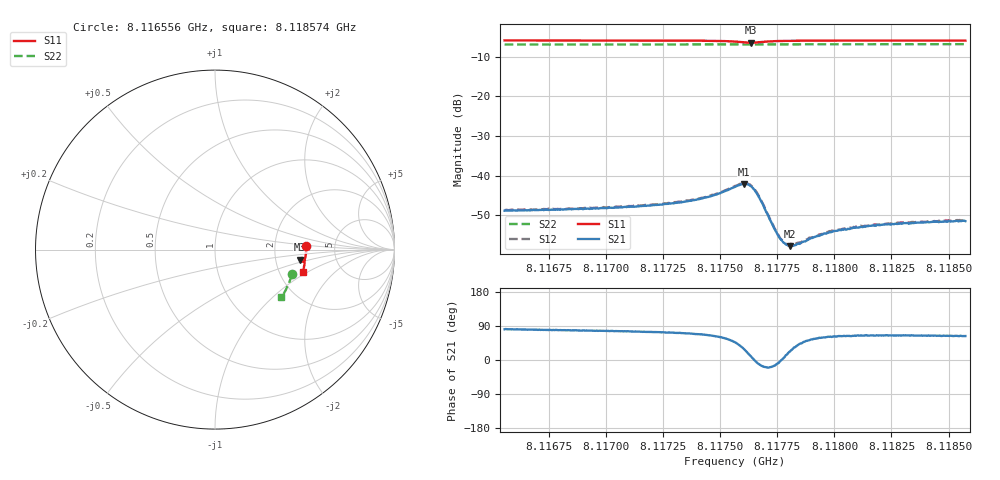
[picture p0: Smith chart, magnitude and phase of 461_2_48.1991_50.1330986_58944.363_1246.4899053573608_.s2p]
#  HZ  S  RI  R  50.00
! Rohde & Schwarz Vector Network Analyzer
! Rohde-Schwarz,ZNB20-2Port,1311601062101988,3.16
! Created: UTC 3/20/2024, 11:56:45 AM
! freq[Hz]  re:S11  im:S11  re:S21  im:S21  re:S12  im:S12  re:S22  im:S22
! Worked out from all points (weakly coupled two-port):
!   401 points, 8.116556 GHz to 8.118574 GHz, reference 50 ohm
!   highest |S21| = -42.08 dB at 8.117605 GHz (marker M1); lowest = -57.8 dB at 8.117807 GHz (marker M2)
!   lowest |S11| = -6.4 dB at 8.117635 GHz (marker M3), VSWR 2.82, Z = 138 - j19.8 ohm
!   |S11| at or under -10 dB: nowhere
!   |S22| runs from -6.9 to -6.8 dB; largest |S21 - S12| = 0.00023
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8.1165555e9  0.5071 0.0179  0.000561 0.00357  0.000611 0.00363  0.4284 -0.1387
8.1168936e9  0.5069 -0.00812  0.000799 0.00374  0.000824 0.00379  0.4214 -0.1612
8.1172316e9  0.5047 -0.0354  0.00122 0.00411  0.00129 0.00419  0.4132 -0.1834
8.1173376e9  0.5031 -0.0446  0.00153 0.0044  0.00158 0.00451  0.4103 -0.1904
8.1174233e9  0.5007 -0.0531  0.00203 0.00477  0.00204 0.00483  0.4079 -0.1961
8.1174889e9  0.4974 -0.0602  0.00275 0.00519  0.00286 0.00526  0.406 -0.2002
8.1175646e9  0.4866 -0.0678  0.00496 0.00528  0.00515 0.00534  0.4032 -0.2049
8.117605e9  0.4763 -0.0652  0.00693 0.00373  0.00711 0.00375  0.4017 -0.2071
8.1176352e9  0.4728 -0.0556  0.00726 0.00112  0.00742 0.00112  0.4009 -0.2085
8.1176504e9  0.4749 -0.0506  0.00657 -9.96e-05  0.00672 -0.00018  0.4006 -0.2092
8.1176705e9  0.4803 -0.0468  0.00519 -0.00105  0.00536 -0.00109  0.4002 -0.2102
8.1177311e9  0.4937 -0.051  0.00222 -0.000661  0.00229 -0.000711  0.3991 -0.2144
8.1177563e9  0.4963 -0.0544  0.00168 -0.000222  0.00174 -0.000195  0.3984 -0.2159
8.1177815e9  0.4977 -0.0579  0.0014 0.000184  0.00144 0.00019  0.3975 -0.2176
8.1178068e9  0.4987 -0.0612  0.00118 0.000512  0.00128 0.000507  0.3969 -0.2194
8.1178522e9  0.4994 -0.0664  0.00103 0.000978  0.00104 0.000943  0.3955 -0.2223
8.1179026e9  0.4993 -0.0718  0.000954 0.00133  0.000987 0.00136  0.3938 -0.2255
8.1179884e9  0.4989 -0.0797  0.000955 0.00171  0.00099 0.00177  0.3912 -0.2309
8.118054e9  0.4982 -0.0854  0.000932 0.00187  0.00097 0.00196  0.3889 -0.235
8.1182407e9  0.4956 -0.1004  0.00104 0.00221  0.0011 0.00221  0.3823 -0.2464
8.1183012e9  0.4946 -0.1051  0.00106 0.00228  0.00111 0.00232  0.3803 -0.25
8.1185737e9  0.4897 -0.1254  0.0012 0.00239  0.00124 0.00246  0.3701 -0.2662
